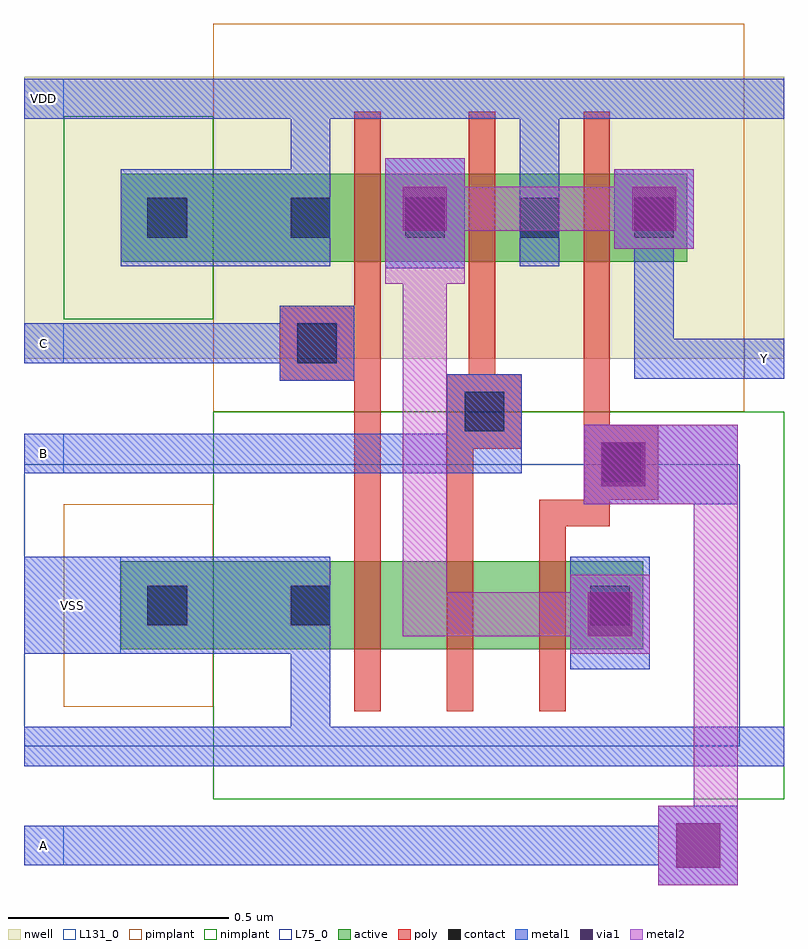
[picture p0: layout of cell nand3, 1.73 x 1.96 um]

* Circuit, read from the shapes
.subckt nand3 A B C VDD VSS Y
M1 n1 C VSS VSS nfet w=0.2u l=0.06u
M2 n2 B n1 VSS nfet w=0.2u l=0.06u
M3 Y A n2 VSS nfet w=0.2u l=0.06u
M4 Y C VDD VDD pfet w=0.2u l=0.06u
M5 VDD B Y VDD pfet w=0.2u l=0.06u
M6 Y A VDD VDD pfet w=0.2u l=0.06u
.ends

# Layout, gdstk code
from math import pi, radians
import gdstk
lib = gdstk.Library(unit=1e-6, precision=1e-09)
def R(c, l, rs):  # rectangles x0, y0, x1, y1
    for r in rs: c.add(gdstk.rectangle(r[:2], r[2:], *l))
nwell = (3, 0)
active = (6, 0)
poly = (17, 0)
pimplant = (25, 0)
nimplant = (26, 0)
contact = (30, 0)
metal1 = (31, 0)
metal2 = (32, 0)
via1 = (51, 0)
L75_0 = (75, 0)
L131_0 = (131, 0)

pch_cdns_684996648150 = lib.new_cell('pch_CDNS_684996648150')
R(pch_cdns_684996648150, nwell, [(-0.245,-0.22,0.455,0.42)])
R(pch_cdns_684996648150, active, [(-0.025,0,0,0.2), (0,0,0.06,0.2), (0.06,0,0.235,0.2)])
R(pch_cdns_684996648150, poly, [(0,-0.14,0.06,0), (0,0,0.06,0.2), (0,0.2,0.06,0.34)])
R(pch_cdns_684996648150, pimplant, [(-0.155,-0.34,0.365,0.54)])
R(pch_cdns_684996648150, contact, [(0.115,0.055,0.205,0.145)])
R(pch_cdns_684996648150, metal1, [(0.115,-0.01,0.205,0.21)])
pch_cdns_684996648150.add(gdstk.Label('& SerialNumber 000000', (0,0), layer=63, texttype=63))
pch_cdns_684996648150.add(gdstk.Label('& Distributor TSMC', (0,0), layer=63, texttype=63))
pch_cdns_684996648150.add(gdstk.Label('& Metric 1', (0,0), layer=63, texttype=63))
pch_cdns_684996648150.add(gdstk.Label('& PDK TechNode "CRN65LP"', (0,0), layer=63, texttype=63))
pch_cdns_684996648150.add(gdstk.Label('& Product    tsmcN65_PDK', (0,0), layer=63, texttype=63))
pch_cdns_684996648150.add(gdstk.Label('& Vendor     Taiwan Semiconductor manufacturing Corp.', (0,0), layer=63, texttype=63))
pch_cdns_684996648150.add(gdstk.Label('[@instanceName]', (0.03,0.1), layer=127, texttype=0))
pch_cdns_684996648150.add(gdstk.Label('pch\n0.2/0.06\n', (0,0), layer=127, texttype=0))
pch_cdns_684996648150.add(gdstk.Label('D', (0.16,0.1), layer=127, texttype=0))

nch_cdns_684996648151 = lib.new_cell('nch_CDNS_684996648151')
R(nch_cdns_684996648151, active, [(-0.53,0,-0.32,0.2), (-0.32,0,0,0.2), (0,0,0.06,0.2), (0.06,0,0.135,0.2)])
R(nch_cdns_684996648151, poly, [(0,-0.14,0.06,0), (0,0,0.06,0.2), (0,0.2,0.06,0.34)])
R(nch_cdns_684996648151, pimplant, [(-0.66,-0.13,-0.32,0.33)])
R(nch_cdns_684996648151, nimplant, [(-0.32,-0.34,0.265,0.54)])
R(nch_cdns_684996648151, contact, [(-0.47,0.055,-0.38,0.145), (-0.145,0.055,-0.055,0.145)])
R(nch_cdns_684996648151, metal1, [(-0.32,-0.01,-0.145,0.21), (-0.145,-0.01,-0.055,0.21)])
R(nch_cdns_684996648151, L75_0, [(-0.75,-0.22,0.355,0.42)])
nch_cdns_684996648151.add(gdstk.FlexPath([(-0.425,-0.01),(-0.425,0.21)], 0.21, ends="flush", simple_path=True, layer=31, datatype=0))  # metal1
nch_cdns_684996648151.add(gdstk.Label('& SerialNumber 000000', (0,0), layer=63, texttype=63))
nch_cdns_684996648151.add(gdstk.Label('& Distributor TSMC', (0,0), layer=63, texttype=63))
nch_cdns_684996648151.add(gdstk.Label('& Metric 1', (0,0), layer=63, texttype=63))
nch_cdns_684996648151.add(gdstk.Label('& PDK TechNode "CRN65LP"', (0,0), layer=63, texttype=63))
nch_cdns_684996648151.add(gdstk.Label('& Product    tsmcN65_PDK', (0,0), layer=63, texttype=63))
nch_cdns_684996648151.add(gdstk.Label('& Vendor     Taiwan Semiconductor manufacturing Corp.', (0,0), layer=63, texttype=63))
nch_cdns_684996648151.add(gdstk.Label('[@instanceName]', (0.03,0.1), layer=127, texttype=0))
nch_cdns_684996648151.add(gdstk.Label('nch\n0.2/0.06\n', (0,0), layer=127, texttype=0))
nch_cdns_684996648151.add(gdstk.Label('B', (-0.425,0.1), layer=127, texttype=0))
nch_cdns_684996648151.add(gdstk.Label('S', (-0.1,0.1), layer=127, texttype=0))

nch_cdns_684996648152 = lib.new_cell('nch_CDNS_684996648152')
R(nch_cdns_684996648152, active, [(-0.075,0,0,0.2), (0,0,0.06,0.2), (0.06,0,0.135,0.2)])
R(nch_cdns_684996648152, poly, [(0,-0.14,0.06,0), (0,0,0.06,0.2), (0,0.2,0.06,0.34)])
R(nch_cdns_684996648152, nimplant, [(-0.205,-0.34,0.265,0.54)])
R(nch_cdns_684996648152, L75_0, [(-0.295,-0.22,0.355,0.42)])
nch_cdns_684996648152.add(gdstk.Label('& SerialNumber 000000', (0,0), layer=63, texttype=63))
nch_cdns_684996648152.add(gdstk.Label('& Distributor TSMC', (0,0), layer=63, texttype=63))
nch_cdns_684996648152.add(gdstk.Label('& Metric 1', (0,0), layer=63, texttype=63))
nch_cdns_684996648152.add(gdstk.Label('& PDK TechNode "CRN65LP"', (0,0), layer=63, texttype=63))
nch_cdns_684996648152.add(gdstk.Label('& Product    tsmcN65_PDK', (0,0), layer=63, texttype=63))
nch_cdns_684996648152.add(gdstk.Label('& Vendor     Taiwan Semiconductor manufacturing Corp.', (0,0), layer=63, texttype=63))
nch_cdns_684996648152.add(gdstk.Label('[@instanceName]', (0.03,0.1), layer=127, texttype=0))
nch_cdns_684996648152.add(gdstk.Label('nch\n0.2/0.06\n', (0,0), layer=127, texttype=0))

nch_cdns_684996648153 = lib.new_cell('nch_CDNS_684996648153')
R(nch_cdns_684996648153, active, [(-0.075,0,0,0.2), (0,0,0.06,0.2), (0.06,0,0.235,0.2)])
R(nch_cdns_684996648153, poly, [(0,-0.14,0.06,0), (0,0,0.06,0.2), (0,0.2,0.06,0.34)])
R(nch_cdns_684996648153, nimplant, [(-0.205,-0.34,0.365,0.54)])
R(nch_cdns_684996648153, contact, [(0.115,0.055,0.205,0.145)])
R(nch_cdns_684996648153, metal1, [(0.115,-0.01,0.205,0.21)])
R(nch_cdns_684996648153, L75_0, [(-0.295,-0.22,0.455,0.42)])
nch_cdns_684996648153.add(gdstk.Label('& SerialNumber 000000', (0,0), layer=63, texttype=63))
nch_cdns_684996648153.add(gdstk.Label('& Distributor TSMC', (0,0), layer=63, texttype=63))
nch_cdns_684996648153.add(gdstk.Label('& Metric 1', (0,0), layer=63, texttype=63))
nch_cdns_684996648153.add(gdstk.Label('& PDK TechNode "CRN65LP"', (0,0), layer=63, texttype=63))
nch_cdns_684996648153.add(gdstk.Label('& Product    tsmcN65_PDK', (0,0), layer=63, texttype=63))
nch_cdns_684996648153.add(gdstk.Label('& Vendor     Taiwan Semiconductor manufacturing Corp.', (0,0), layer=63, texttype=63))
nch_cdns_684996648153.add(gdstk.Label('[@instanceName]', (0.03,0.1), layer=127, texttype=0))
nch_cdns_684996648153.add(gdstk.Label('nch\n0.2/0.06\n', (0,0), layer=127, texttype=0))
nch_cdns_684996648153.add(gdstk.Label('D', (0.16,0.1), layer=127, texttype=0))

pch_cdns_684996648154 = lib.new_cell('pch_CDNS_684996648154')
R(pch_cdns_684996648154, nwell, [(-0.75,-0.22,0.305,0.42)])
R(pch_cdns_684996648154, active, [(-0.53,0,-0.32,0.2), (-0.32,0,0,0.2), (0,0,0.06,0.2), (0.06,0,0.085,0.2)])
R(pch_cdns_684996648154, poly, [(0,-0.14,0.06,0), (0,0,0.06,0.2), (0,0.2,0.06,0.34)])
R(pch_cdns_684996648154, pimplant, [(-0.32,-0.34,0.215,0.54)])
R(pch_cdns_684996648154, nimplant, [(-0.66,-0.13,-0.32,0.33)])
R(pch_cdns_684996648154, contact, [(-0.47,0.055,-0.38,0.145), (-0.145,0.055,-0.055,0.145)])
R(pch_cdns_684996648154, metal1, [(-0.32,-0.01,-0.145,0.21), (-0.145,-0.01,-0.055,0.21)])
pch_cdns_684996648154.add(gdstk.FlexPath([(-0.425,-0.01),(-0.425,0.21)], 0.21, ends="flush", simple_path=True, layer=31, datatype=0))  # metal1
pch_cdns_684996648154.add(gdstk.Label('& SerialNumber 000000', (0,0), layer=63, texttype=63))
pch_cdns_684996648154.add(gdstk.Label('& Distributor TSMC', (0,0), layer=63, texttype=63))
pch_cdns_684996648154.add(gdstk.Label('& Metric 1', (0,0), layer=63, texttype=63))
pch_cdns_684996648154.add(gdstk.Label('& PDK TechNode "CRN65LP"', (0,0), layer=63, texttype=63))
pch_cdns_684996648154.add(gdstk.Label('& Product    tsmcN65_PDK', (0,0), layer=63, texttype=63))
pch_cdns_684996648154.add(gdstk.Label('& Vendor     Taiwan Semiconductor manufacturing Corp.', (0,0), layer=63, texttype=63))
pch_cdns_684996648154.add(gdstk.Label('[@instanceName]', (0.03,0.1), layer=127, texttype=0))
pch_cdns_684996648154.add(gdstk.Label('pch\n0.2/0.06\n', (0,0), layer=127, texttype=0))
pch_cdns_684996648154.add(gdstk.Label('B', (-0.425,0.1), layer=127, texttype=0))
pch_cdns_684996648154.add(gdstk.Label('S', (-0.1,0.1), layer=127, texttype=0))

pch_cdns_684996648155 = lib.new_cell('pch_CDNS_684996648155')
R(pch_cdns_684996648155, nwell, [(-0.395,-0.22,0.455,0.42)])
R(pch_cdns_684996648155, active, [(-0.175,0,0,0.2), (0,0,0.06,0.2), (0.06,0,0.235,0.2)])
R(pch_cdns_684996648155, poly, [(0,-0.14,0.06,0), (0,0,0.06,0.2), (0,0.2,0.06,0.34)])
R(pch_cdns_684996648155, pimplant, [(-0.305,-0.34,0.365,0.54)])
R(pch_cdns_684996648155, contact, [(-0.145,0.055,-0.055,0.145), (0.115,0.055,0.205,0.145)])
R(pch_cdns_684996648155, metal1, [(-0.145,-0.01,-0.055,0.21), (0.115,-0.01,0.205,0.21)])
pch_cdns_684996648155.add(gdstk.Label('& SerialNumber 000000', (0,0), layer=63, texttype=63))
pch_cdns_684996648155.add(gdstk.Label('& Distributor TSMC', (0,0), layer=63, texttype=63))
pch_cdns_684996648155.add(gdstk.Label('& Metric 1', (0,0), layer=63, texttype=63))
pch_cdns_684996648155.add(gdstk.Label('& PDK TechNode "CRN65LP"', (0,0), layer=63, texttype=63))
pch_cdns_684996648155.add(gdstk.Label('& Product    tsmcN65_PDK', (0,0), layer=63, texttype=63))
pch_cdns_684996648155.add(gdstk.Label('& Vendor     Taiwan Semiconductor manufacturing Corp.', (0,0), layer=63, texttype=63))
pch_cdns_684996648155.add(gdstk.Label('[@instanceName]', (0.03,0.1), layer=127, texttype=0))
pch_cdns_684996648155.add(gdstk.Label('pch\n0.2/0.06\n', (0,0), layer=127, texttype=0))
pch_cdns_684996648155.add(gdstk.Label('D', (0.16,0.1), layer=127, texttype=0))
pch_cdns_684996648155.add(gdstk.Label('S', (-0.1,0.1), layer=127, texttype=0))

m1_po_cdns_684996648150 = lib.new_cell('M1_PO_CDNS_684996648150')
R(m1_po_cdns_684996648150, poly, [(-0.085,-0.085,0.085,0.085)])
R(m1_po_cdns_684996648150, contact, [(-0.045,-0.045,0.045,0.045)])
R(m1_po_cdns_684996648150, metal1, [(-0.085,-0.085,0.085,0.085)])

m2_m1_cdns_684996648151 = lib.new_cell('M2_M1_CDNS_684996648151')
R(m2_m1_cdns_684996648151, metal1, [(-0.09,-0.09,0.09,0.09)])
R(m2_m1_cdns_684996648151, metal2, [(-0.09,-0.09,0.09,0.09)])
R(m2_m1_cdns_684996648151, via1, [(-0.05,-0.05,0.05,0.05)])

nand3 = lib.new_cell('nand3')
R(nand3, nimplant, [(1.535,0,1.725,0.88)])
R(nand3, metal1, [(1.24,0.295,1.42,0.55), (1.24,0.33,1.42,0.55), (1.27,0.67,1.62,0.85), (0.82,1.205,1,1.43), (0.82,1.205,1,1.455)])
R(nand3, metal2, [(1.27,0.67,1.62,0.85), (0.82,1.17,1,1.455), (0.82,1.205,1,1.455)])
R(nand3, L131_0, [(0,-0.15,0.09,-0.06), (0,0.33,0.22,0.55), (0,0.74,0.09,0.83), (1.635,0.955,1.725,1.045), (0,0.99,0.09,1.08), (0,1.545,0.09,1.635)])
nand3.add(gdstk.FlexPath([(0.99,0.88),(1.04,0.88)], 0.06, ends="extended", simple_path=True, layer=17, datatype=0))  # poly
nand3.add(gdstk.FlexPath([(1.3,1.08),(1.3,0.65)], 0.06, ends=(0, 0.03), simple_path=True, layer=17, datatype=0))  # poly
nand3.add(gdstk.FlexPath([(1.3,0.65),(1.23,0.65)], 0.06, ends=(0.03, 0), simple_path=True, layer=17, datatype=0))  # poly
nand3.add(gdstk.FlexPath([(1.04,0.88),(1.045,0.88)], 0.06, ends=(0.03, 0), simple_path=True, layer=17, datatype=0))  # poly
nand3.add(gdstk.FlexPath([(0.99,0.655),(0.99,0.88)], 0.06, ends=(0, 0.03), simple_path=True, layer=17, datatype=0))  # poly
nand3.add(gdstk.FlexPath([(1.04,1.08),(1.04,0.88)], 0.06, ends=(0, 0.03), simple_path=True, layer=17, datatype=0))  # poly
nand3.add(gdstk.FlexPath([(0.78,0.68),(0.78,1.08)], 0.06, ends="flush", simple_path=True, layer=17, datatype=0))  # poly
nand3.add(gdstk.FlexPath([(0.045,-0.105),(0,-0.105)], 0.09, ends="flush", simple_path=True, layer=31, datatype=0))  # metal1
nand3.add(gdstk.FlexPath([(1.17,1.59),(0.65,1.59)], 0.09, ends="extended", simple_path=True, layer=31, datatype=0))  # metal1
nand3.add(gdstk.FlexPath([(0.65,1.59),(0.65,1.43)], 0.09, ends=(0.045, 0), simple_path=True, layer=31, datatype=0))  # metal1
nand3.add(gdstk.FlexPath([(1.725,1),(1.43,1)], 0.09, ends=(0, 0.045), simple_path=True, layer=31, datatype=0))  # metal1
nand3.add(gdstk.FlexPath([(0.65,0.12),(0,0.12)], 0.09, ends=(0.045, 0), simple_path=True, layer=31, datatype=0))  # metal1
nand3.add(gdstk.FlexPath([(0.665,1.035),(0.665,1.04)], 0.09, ends=(0.045, 0), simple_path=True, layer=31, datatype=0))  # metal1
nand3.add(gdstk.FlexPath([(0,1.035),(0.665,1.035)], 0.09, ends=(0, 0.045), simple_path=True, layer=31, datatype=0))  # metal1
nand3.add(gdstk.FlexPath([(1.43,1.32),(1.475,1.32)], 0.09, ends=(0.045, 0), simple_path=True, layer=31, datatype=0))  # metal1
nand3.add(gdstk.FlexPath([(0.3,0.44),(0,0.44)], 0.22, ends="flush", simple_path=True, layer=31, datatype=0))  # metal1
nand3.add(gdstk.FlexPath([(1.17,1.59),(1.725,1.59)], 0.09, ends=(0.045, 0), simple_path=True, layer=31, datatype=0))  # metal1
nand3.add(gdstk.FlexPath([(0.65,1.59),(0,1.59)], 0.09, ends=(0.045, 0), simple_path=True, layer=31, datatype=0))  # metal1
nand3.add(gdstk.FlexPath([(0.65,0.33),(0.65,0.12)], 0.09, ends=(0, 0.045), simple_path=True, layer=31, datatype=0))  # metal1
nand3.add(gdstk.FlexPath([(1.43,1),(1.43,1.32)], 0.09, ends="extended", simple_path=True, layer=31, datatype=0))  # metal1
nand3.add(gdstk.FlexPath([(0.65,0.12),(1.725,0.12)], 0.09, ends=(0.045, 0), simple_path=True, layer=31, datatype=0))  # metal1
nand3.add(gdstk.FlexPath([(1.045,0.785),(0,0.785)], 0.09, ends=(0.085, 0), simple_path=True, layer=31, datatype=0))  # metal1
nand3.add(gdstk.FlexPath([(1.045,0.87),(1.045,0.785)], 0.17, ends=(0, 0.045), simple_path=True, layer=31, datatype=0))  # metal1
nand3.add(gdstk.FlexPath([(0.045,-0.105),(1.57,-0.105)], 0.09, ends="flush", simple_path=True, layer=31, datatype=0))  # metal1
nand3.add(gdstk.FlexPath([(1.17,1.43),(1.17,1.59)], 0.09, ends=(0, 0.045), simple_path=True, layer=31, datatype=0))  # metal1
nand3.add(gdstk.FlexPath([(1.57,0.76),(1.57,-0.06)], 0.1, ends=(0.05, 0), simple_path=True, layer=32, datatype=0))  # metal2
nand3.add(gdstk.FlexPath([(1.36,0.76),(1.57,0.76)], 0.1, ends=(0, 0.05), simple_path=True, layer=32, datatype=0))  # metal2
nand3.add(gdstk.FlexPath([(0.91,1.34),(0.91,0.42)], 0.1, ends="extended", simple_path=True, layer=32, datatype=0))  # metal2
nand3.add(gdstk.FlexPath([(1.43,1.34),(0.91,1.34)], 0.1, ends=(0, 0.05), simple_path=True, layer=32, datatype=0))  # metal2
nand3.add(gdstk.FlexPath([(0.91,0.42),(1.33,0.42)], 0.1, ends=(0.05, 0), simple_path=True, layer=32, datatype=0))  # metal2
nand3.add(gdstk.Reference(pch_cdns_684996648150, (1.27,1.22)))
nand3.add(gdstk.Reference(nch_cdns_684996648151, (0.75,0.34)))
nand3.add(gdstk.Reference(nch_cdns_684996648152, (0.96,0.34)))
nand3.add(gdstk.Reference(nch_cdns_684996648153, (1.17,0.34)))
nand3.add(gdstk.Reference(pch_cdns_684996648154, (0.75,1.22)))
nand3.add(gdstk.Reference(pch_cdns_684996648155, (1.07,1.22), rotation=pi, x_reflection=True))
nand3.add(gdstk.Reference(m1_po_cdns_684996648150, (1.045,0.88)))
nand3.add(gdstk.Reference(m1_po_cdns_684996648150, (1.355,0.765)))
nand3.add(gdstk.Reference(m1_po_cdns_684996648150, (0.665,1.035)))
nand3.add(gdstk.Reference(m2_m1_cdns_684996648151, (1.53,-0.105)))
nand3.add(gdstk.Reference(m2_m1_cdns_684996648151, (1.36,0.76)))
nand3.add(gdstk.Reference(m2_m1_cdns_684996648151, (0.91,1.34)))
nand3.add(gdstk.Reference(m2_m1_cdns_684996648151, (1.43,1.34)))
nand3.add(gdstk.Reference(m2_m1_cdns_684996648151, (1.33,0.42)))
nand3.add(gdstk.Label('Y', (1.68,1), layer=131, texttype=0))
nand3.add(gdstk.Label('VDD', (0.045,1.59), layer=131, texttype=0))
nand3.add(gdstk.Label('VSS', (0.11,0.44), layer=131, texttype=0))
nand3.add(gdstk.Label('A', (0.045,-0.105), layer=131, texttype=0))
nand3.add(gdstk.Label('B', (0.045,0.785), layer=131, texttype=0))
nand3.add(gdstk.Label('C', (0.045,1.035), layer=131, texttype=0))

lib.write_gds('nand3.gds')
